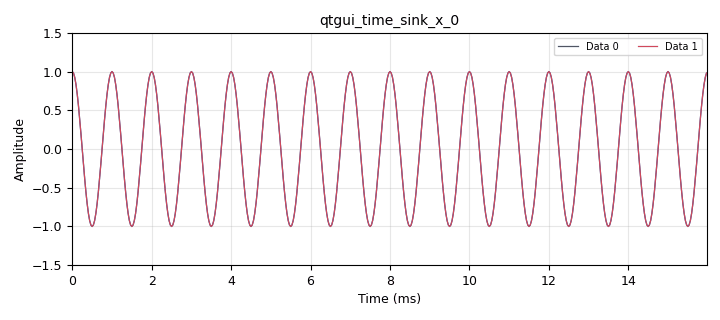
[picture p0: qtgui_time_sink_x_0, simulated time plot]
<?xml version='1.0' encoding='utf-8'?>
<?grc format='1' created='3.7.7'?>
<flow_graph>
<block>
<key>options</key>
<param><key>id</key><value>blocks_delay</value></param>
<param><key>generate_options</key><value>qt_gui</value></param>
<param><key>category</key><value>Custom</value></param>
</block>
<block>
<key>variable</key>
<param><key>id</key><value>samp_rate</value></param>
<param><key>value</key><value>32000</value></param>
</block>
<block>
<key>variable_qtgui_range</key>
<param><key>id</key><value>delay</value></param>
<param><key>label</key><value>Delay</value></param>
<param><key>value</key><value>0</value></param>
<param><key>start</key><value>0</value></param>
<param><key>stop</key><value>100</value></param>
<param><key>step</key><value>1</value></param>
<param><key>orient</key><value>Qt.Horizontal</value></param>
</block>
<block>
<key>blocks_delay</key>
<param><key>id</key><value>blocks_delay_0</value></param>
<param><key>type</key><value>float</value></param>
<param><key>delay</key><value>int(delay)</value></param>
</block>
<block>
<key>analog_sig_source_x</key>
<param><key>id</key><value>analog_sig_source_x_0</value></param>
<param><key>type</key><value>float</value></param>
<param><key>samp_rate</key><value>samp_rate</value></param>
<param><key>waveform</key><value>analog.GR_COS_WAVE</value></param>
<param><key>freq</key><value>1000</value></param>
<param><key>amp</key><value>1</value></param>
<param><key>offset</key><value>0</value></param>
</block>
<block>
<key>blocks_throttle</key>
<param><key>id</key><value>blocks_throttle_0</value></param>
<param><key>type</key><value>float</value></param>
<param><key>samples_per_second</key><value>samp_rate</value></param>
</block>
<block>
<key>qtgui_time_sink_x</key>
<param><key>id</key><value>qtgui_time_sink_x_0</value></param>
<param><key>type</key><value>float</value></param>
<param><key>name</key><value></value></param>
<param><key>size</key><value>512</value></param>
<param><key>srate</key><value>samp_rate</value></param>
<param><key>ymin</key><value>-1.5</value></param>
<param><key>ymax</key><value>1.5</value></param>
<param><key>nconnections</key><value>2</value></param>
<param><key>label1</key><value></value></param>
<param><key>color1</key><value>"blue"</value></param>
<param><key>label2</key><value></value></param>
<param><key>color2</key><value>"red"</value></param>
</block>
<connection><source_block_id>blocks_delay_0</source_block_id><sink_block_id>qtgui_time_sink_x_0</sink_block_id><source_key>0</source_key><sink_key>0</sink_key></connection>
<connection><source_block_id>blocks_throttle_0</source_block_id><sink_block_id>blocks_delay_0</sink_block_id><source_key>0</source_key><sink_key>0</sink_key></connection>
<connection><source_block_id>analog_sig_source_x_0</source_block_id><sink_block_id>blocks_throttle_0</sink_block_id><source_key>0</source_key><sink_key>0</sink_key></connection>
<connection><source_block_id>blocks_throttle_0</source_block_id><sink_block_id>qtgui_time_sink_x_0</sink_block_id><source_key>0</source_key><sink_key>1</sink_key></connection>
</flow_graph>
